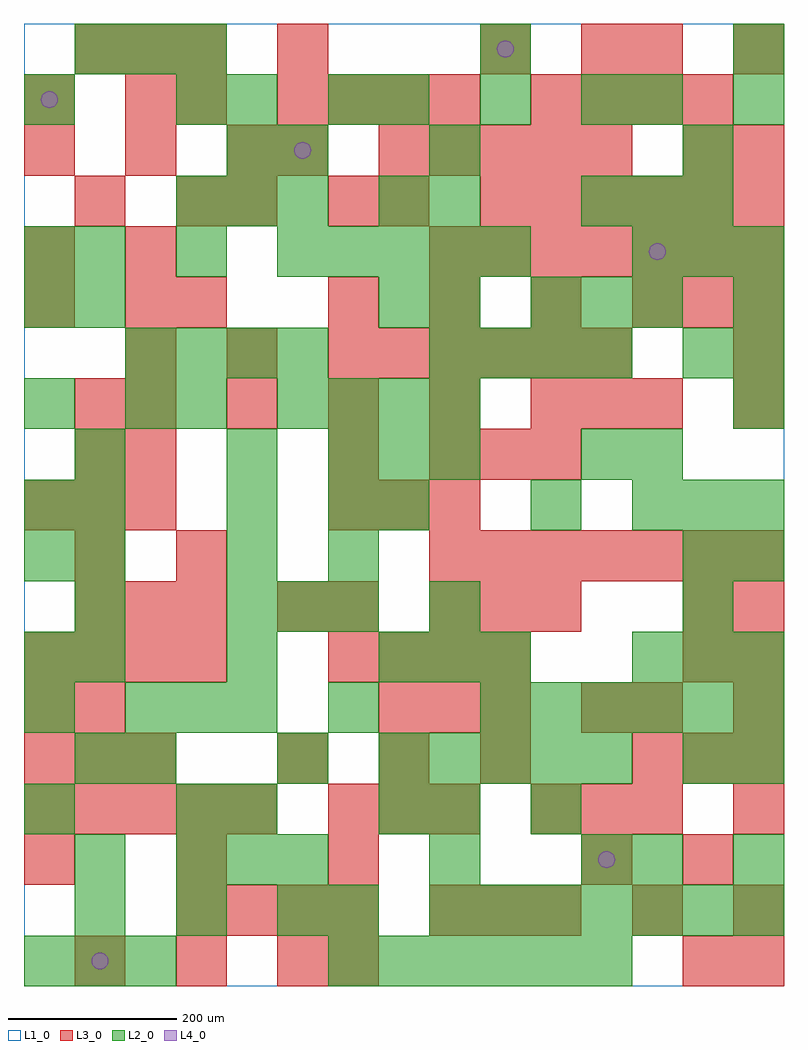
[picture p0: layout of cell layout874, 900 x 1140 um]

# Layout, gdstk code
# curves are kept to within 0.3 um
import gdstk
lib = gdstk.Library(unit=1e-6, precision=1e-09)
def R(c, l, rs):  # rectangles x0, y0, x1, y1
    for r in rs: c.add(gdstk.rectangle(r[:2], r[2:], *l))
def A(c, l, x, y, w, h, nx, ny, dx, dy):  # array of equal rectangles
    R(c, l, [(x+i*dx, y+j*dy, x+i*dx+w, y+j*dy+h) for i in range(nx) for j in range(ny)])
def P(c, l, *ps):  # polygons
    for p in ps: c.add(gdstk.Polygon(p, *l))
L1_0 = (1, 0)
L2_0 = (2, 0)
L3_0 = (3, 0)
L4_0 = (4, 0)

layout874 = lib.new_cell('layout874')
R(layout874, L1_0, [(0,0,900,1140)])
A(layout874, L2_0, 0, 0, 60, 60, 3, 1, 60, 0)
A(layout874, L2_0, 360, 0, 60, 60, 6, 1, 60, 0)
A(layout874, L2_0, 60, 60, 60, 60, 3, 2, 120, 780)
A(layout874, L2_0, 480, 60, 60, 60, 7, 1, 60, 0)
A(layout874, L2_0, 180, 120, 60, 60, 3, 2, 60, 780)
A(layout874, L2_0, 420, 240, 60, 60, 5, 1, 60, 0)
A(layout874, L2_0, 120, 300, 60, 60, 3, 1, 60, 0)
A(layout874, L2_0, 540, 300, 60, 60, 6, 1, 60, 0)
A(layout874, L2_0, 60, 360, 60, 60, 3, 1, 180, 0)
A(layout874, L2_0, 720, 360, 60, 60, 3, 2, 60, 180)
A(layout874, L2_0, 60, 420, 60, 60, 1, 4, 0, 60)
A(layout874, L2_0, 240, 420, 60, 60, 3, 1, 60, 0)
A(layout874, L2_0, 240, 480, 60, 60, 1, 3, 0, 60)
A(layout874, L2_0, 780, 480, 60, 60, 1, 3, 0, 240)
A(layout874, L2_0, 0, 540, 60, 60, 1, 3, 0, 120)
A(layout874, L2_0, 360, 600, 60, 60, 3, 1, 60, 0)
A(layout874, L2_0, 300, 660, 60, 60, 4, 1, 60, 0)
A(layout874, L2_0, 840, 660, 60, 60, 1, 3, 0, 60)
A(layout874, L2_0, 120, 720, 60, 60, 4, 1, 60, 0)
A(layout874, L2_0, 480, 720, 60, 60, 4, 1, 60, 0)
A(layout874, L2_0, 600, 780, 60, 60, 3, 1, 60, 0)
A(layout874, L2_0, 360, 840, 60, 60, 4, 1, 60, 0)
A(layout874, L2_0, 720, 840, 60, 60, 3, 1, 60, 0)
A(layout874, L2_0, 660, 900, 60, 60, 3, 1, 60, 0)
A(layout874, L2_0, 420, 1020, 60, 60, 3, 1, 120, 0)
A(layout874, L2_0, 60, 1080, 60, 60, 3, 1, 60, 0)
R(layout874, L2_0, [(360,60,420,120), (60,120,120,180), (480,120,540,180), (660,120,720,180), (720,120,780,180), (840,120,900,180), (0,180,60,240), (180,180,240,240), (240,180,300,240), (420,180,480,240), (480,180,540,240), (600,180,660,240), (60,240,120,300), (120,240,180,300), (300,240,360,300), (780,240,840,300), (840,240,900,300), (0,300,60,360), (360,300,420,360), (0,360,60,420), (480,360,540,420), (540,360,600,420), (480,420,540,480), (780,420,840,480), (0,480,60,540), (360,480,420,540), (840,480,900,540), (360,540,420,600), (420,540,480,600), (600,540,660,600), (660,600,720,660), (720,600,780,660), (120,660,180,720), (180,660,240,720), (60,780,120,840), (420,780,480,840), (480,780,540,840), (0,840,60,900), (420,900,480,960), (480,900,540,960), (240,960,300,1020), (300,960,360,1020), (480,960,540,1020), (0,1020,60,1080), (180,1020,240,1080), (240,1020,300,1080), (360,1020,420,1080), (720,1020,780,1080), (840,1020,900,1080), (540,1080,600,1140), (840,1080,900,1140)])
A(layout874, L3_0, 60, 0, 60, 60, 3, 1, 120, 0)
A(layout874, L3_0, 180, 60, 60, 60, 4, 1, 60, 0)
A(layout874, L3_0, 480, 60, 60, 60, 3, 2, 60, 360)
A(layout874, L3_0, 840, 60, 60, 60, 1, 3, 0, 120)
A(layout874, L3_0, 0, 120, 60, 60, 3, 1, 180, 0)
A(layout874, L3_0, 0, 180, 60, 60, 5, 1, 60, 0)
A(layout874, L3_0, 360, 180, 60, 60, 3, 2, 60, 360)
A(layout874, L3_0, 600, 180, 60, 60, 3, 1, 60, 0)
A(layout874, L3_0, 0, 240, 60, 60, 3, 2, 60, 300)
A(layout874, L3_0, 300, 240, 60, 60, 3, 1, 120, 0)
A(layout874, L3_0, 720, 240, 60, 60, 3, 1, 60, 0)
A(layout874, L3_0, 420, 300, 60, 60, 3, 1, 60, 0)
A(layout874, L3_0, 0, 360, 60, 60, 4, 1, 60, 0)
A(layout874, L3_0, 360, 360, 60, 60, 4, 1, 60, 0)
A(layout874, L3_0, 60, 420, 60, 60, 3, 2, 60, 660)
A(layout874, L3_0, 480, 480, 60, 60, 7, 2, 60, 360)
A(layout874, L3_0, 480, 600, 60, 60, 3, 1, 60, 0)
A(layout874, L3_0, 120, 660, 60, 60, 5, 1, 120, 0)
A(layout874, L3_0, 840, 660, 60, 60, 1, 3, 0, 60)
A(layout874, L3_0, 120, 720, 60, 60, 3, 1, 120, 0)
A(layout874, L3_0, 420, 720, 60, 60, 5, 2, 60, 240)
A(layout874, L3_0, 180, 780, 60, 60, 1, 3, 0, 120)
A(layout874, L3_0, 360, 780, 60, 60, 4, 1, 120, 0)
A(layout874, L3_0, 540, 900, 60, 60, 6, 1, 60, 0)
A(layout874, L3_0, 0, 960, 60, 60, 3, 1, 120, 0)
A(layout874, L3_0, 300, 1020, 60, 60, 4, 1, 60, 0)
A(layout874, L3_0, 600, 1020, 60, 60, 4, 1, 60, 0)
R(layout874, L3_0, [(360,0,420,60), (780,0,840,60), (840,0,900,60), (720,60,780,120), (660,120,720,180), (780,120,840,180), (0,300,60,360), (60,300,120,360), (660,300,720,360), (720,300,780,360), (780,360,840,420), (840,360,900,420), (300,420,360,480), (360,420,420,480), (780,420,840,480), (840,420,900,480), (60,480,120,540), (180,480,240,540), (60,600,120,660), (120,600,180,660), (360,600,420,660), (60,660,120,720), (660,660,720,720), (720,660,780,720), (0,780,60,840), (120,780,180,840), (780,780,840,840), (0,840,60,900), (120,840,180,900), (60,900,120,960), (240,900,300,960), (360,900,420,960), (420,900,480,960), (300,960,360,1020), (780,960,840,1020), (840,960,900,1020), (0,1020,60,1080), (120,1020,180,1080), (300,1080,360,1140), (540,1080,600,1140), (660,1080,720,1140), (720,1080,780,1140), (840,1080,900,1140)])
P(layout874, L4_0, [(40,1050),(39.239,1053.827),(37.071,1057.071),(33.827,1059.239),(30,1060),(26.173,1059.239),(22.929,1057.071),(20.761,1053.827),(20,1050),(20.761,1046.173),(22.929,1042.929),(26.173,1040.761),(30,1040),(33.827,1040.761),(37.071,1042.929),(39.239,1046.173)],
  [(100,30),(99.239,33.827),(97.071,37.071),(93.827,39.239),(90,40),(86.173,39.239),(82.929,37.071),(80.761,33.827),(80,30),(80.761,26.173),(82.929,22.929),(86.173,20.761),(90,20),(93.827,20.761),(97.071,22.929),(99.239,26.173)],
  [(340,990),(339.239,993.827),(337.071,997.071),(333.827,999.239),(330,1000),(326.173,999.239),(322.929,997.071),(320.761,993.827),(320,990),(320.761,986.173),(322.929,982.929),(326.173,980.761),(330,980),(333.827,980.761),(337.071,982.929),(339.239,986.173)],
  [(580,1110),(579.239,1113.827),(577.071,1117.071),(573.827,1119.239),(570,1120),(566.173,1119.239),(562.929,1117.071),(560.761,1113.827),(560,1110),(560.761,1106.173),(562.929,1102.929),(566.173,1100.761),(570,1100),(573.827,1100.761),(577.071,1102.929),(579.239,1106.173)],
  [(700,150),(699.239,153.827),(697.071,157.071),(693.827,159.239),(690,160),(686.173,159.239),(682.929,157.071),(680.761,153.827),(680,150),(680.761,146.173),(682.929,142.929),(686.173,140.761),(690,140),(693.827,140.761),(697.071,142.929),(699.239,146.173)],
  [(760,870),(759.239,873.827),(757.071,877.071),(753.827,879.239),(750,880),(746.173,879.239),(742.929,877.071),(740.761,873.827),(740,870),(740.761,866.173),(742.929,862.929),(746.173,860.761),(750,860),(753.827,860.761),(757.071,862.929),(759.239,866.173)])

lib.write_gds('layout874.gds')
